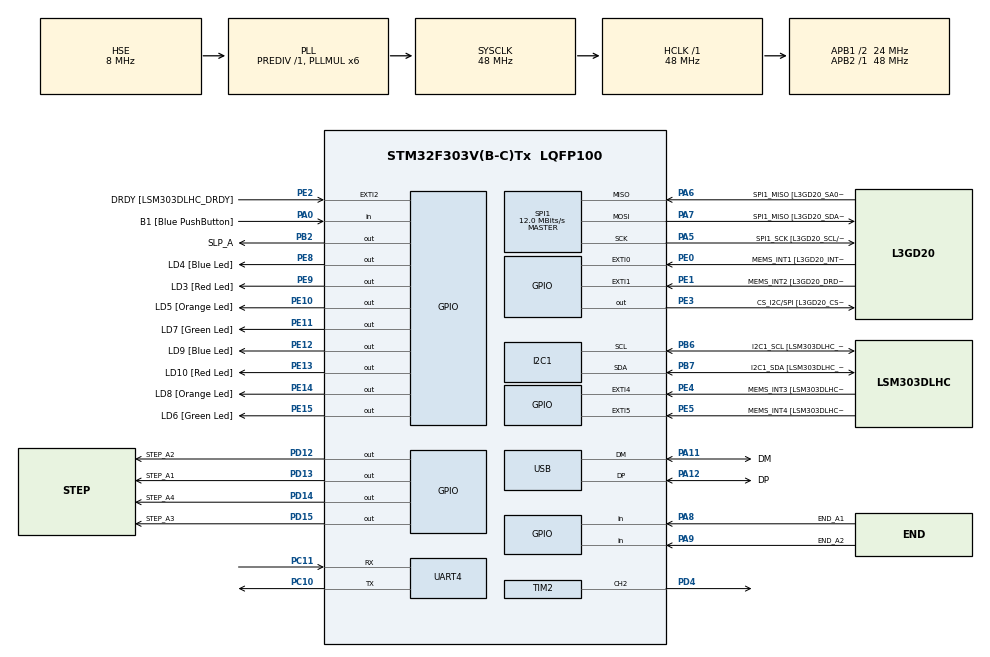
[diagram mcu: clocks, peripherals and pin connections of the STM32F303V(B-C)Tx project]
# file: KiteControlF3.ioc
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I2C1.Timing-I2C=0x2000090E
Mcu.Family=STM32F3
Mcu.Name=STM32F303V(B-C)Tx
Mcu.Package=LQFP100
NVIC.PriorityGroup=NVIC_PRIORITYGROUP_0
NVIC.TIM2_IRQn=true\:0\:0\:false\:false\:true\:true\:true\:true
NVIC.UART4_IRQn=true\:0\:0\:false\:false\:true\:true\:true\:true
PA0.GPIO_Label=B1 [Blue PushButton]
PA0.Signal=GPIO_Input
PA11.GPIO_Label=DM
PA11.Mode=Device
PA11.Signal=USB_DM
PA12.GPIO_Label=DP
PA12.Mode=Device
PA12.Signal=USB_DP
PA13.GPIO_Label=SWDIO
PA13.Mode=Serial_Wire
PA13.Signal=SYS_JTMS-SWDIO
PA14.GPIO_Label=SWCLK
PA14.Mode=Serial_Wire
PA14.Signal=SYS_JTCK-SWCLK
PA5.GPIO_Label=SPI1_SCK [L3GD20_SCL/SPC]
PA5.Mode=Full_Duplex_Master
PA5.Signal=SPI1_SCK
PA6.GPIO_Label=SPI1_MISO [L3GD20_SA0/SDO]
PA6.Mode=Full_Duplex_Master
PA6.Signal=SPI1_MISO
PA7.GPIO_Label=SPI1_MISO [L3GD20_SDA/SDI/SDO]
PA7.Mode=Full_Duplex_Master
PA7.Signal=SPI1_MOSI
PA8.GPIO_Label=END_A1
PA8.Signal=GPIO_Input
PA9.GPIO_Label=END_A2
PA9.Signal=GPIO_Input
PB2.GPIO_Label=SLP_A
PB2.Signal=GPIO_Output
PB3.GPIO_Label=SWO
PB3.Signal=SYS_JTDO-TRACESWO
PB6.GPIO_Label=I2C1_SCL [LSM303DLHC_SCL]
PB6.GPIO_Pu=GPIO_PULLUP
PB6.Mode=I2C
PB6.Signal=I2C1_SCL
PB7.GPIO_Label=I2C1_SDA [LSM303DLHC_SDA]
PB7.GPIO_Pu=GPIO_PULLUP
PB7.Mode=I2C
PB7.Signal=I2C1_SDA
PC10.Mode=Asynchronous
PC10.Signal=UART4_TX
PC11.Mode=Asynchronous
PC11.Signal=UART4_RX
PC14-OSC32_IN.GPIO_Label=OSC32_IN
PC14-OSC32_IN.Signal=RCC_OSC32_IN
PC15-OSC32_OUT.GPIO_Label=OSC32_OUT
PC15-OSC32_OUT.Signal=RCC_OSC32_OUT
PD12.GPIO_Label=STEP_A2
PD12.Signal=GPIO_Output
PD13.GPIO_Label=STEP_A1
PD13.Signal=GPIO_Output
PD14.GPIO_Label=STEP_A4
PD14.Signal=GPIO_Output
PD15.GPIO_Label=STEP_A3
PD15.Signal=GPIO_Output
PD4.Signal=S_TIM2_CH2
PE0.GPIO_Label=MEMS_INT1 [L3GD20_INT1]
PE0.GPIO_ModeDefaultEXTI=GPIO_MODE_EVT_RISING
PE0.Signal=GPXTI0
PE1.GPIO_Label=MEMS_INT2 [L3GD20_DRDY/INT2]
PE1.GPIO_ModeDefaultEXTI=GPIO_MODE_EVT_RISING
PE1.Signal=GPXTI1
PE10.GPIO_Label=LD5 [Orange Led]
PE10.Signal=GPIO_Output
PE11.GPIO_Label=LD7 [Green Led]
PE11.Signal=GPIO_Output
PE12.GPIO_Label=LD9 [Blue Led]
PE12.Signal=GPIO_Output
PE13.GPIO_Label=LD10 [Red Led]
PE13.Signal=GPIO_Output
PE14.GPIO_Label=LD8 [Orange Led]
PE14.Signal=GPIO_Output
PE15.GPIO_Label=LD6 [Green Led]
PE15.Signal=GPIO_Output
PE2.GPIO_Label=DRDY [LSM303DLHC_DRDY]
PE2.GPIO_ModeDefaultEXTI=GPIO_MODE_EVT_RISING
PE2.Signal=GPXTI2
PE3.GPIO_Label=CS_I2C/SPI [L3GD20_CS_I2C/SPI]
PE3.Signal=GPIO_Output
PE4.GPIO_Label=MEMS_INT3 [LSM303DLHC_INT1]
PE4.GPIO_ModeDefaultEXTI=GPIO_MODE_EVT_RISING
PE4.Signal=GPXTI4
PE5.GPIO_Label=MEMS_INT4 [LSM303DLHC_INT2]
PE5.GPIO_ModeDefaultEXTI=GPIO_MODE_EVT_RISING
PE5.Signal=GPXTI5
PE8.GPIO_Label=LD4 [Blue Led]
PE8.Signal=GPIO_Output
PE9.GPIO_Label=LD3 [Red Led]
PE9.Signal=GPIO_Output
PF0-OSC_IN.GPIO_Label=OSC_IN
PF0-OSC_IN.Mode=HSE-External-Clock-Source
PF0-OSC_IN.Signal=RCC_OSC_IN
PF1-OSC_OUT.GPIO_Label=OSC_OUT
PF1-OSC_OUT.Signal=RCC_OSC_OUT
ProjectManager.HeapSize=0x200
ProjectManager.StackSize=0x400
ProjectManager.TargetToolchain=STM32CubeIDE
RCC.AHBFreq_Value=48000000
RCC.APB1CLKDivider=RCC_HCLK_DIV2
RCC.APB1Freq_Value=24000000
RCC.APB1TimFreq_Value=48000000
RCC.APB2Freq_Value=48000000
RCC.APB2TimFreq_Value=48000000
RCC.CortexFreq_Value=48000000
RCC.HCLKFreq_Value=48000000
RCC.HSE_VALUE=8000000
RCC.HSI_VALUE=8000000
RCC.LSE_VALUE=32768
RCC.PLLMUL=RCC_PLL_MUL6
RCC.SYSCLKFreq_VALUE=48000000
RCC.SYSCLKSourceVirtual=RCC_SYSCLKSOURCE_PLLCLK
RCC.USBFreq_Value=48000000
SH.S_TIM2_CH2.0=TIM2_CH2,Output Compare2 CH2
SPI1.BaudRatePrescaler=SPI_BAUDRATEPRESCALER_4
SPI1.BaudRatePrescaler-Full_Duplex_Master=SPI_BAUDRATEPRESCALER_2
SPI1.CalculateBaudRate=12.0 MBits/s
SPI1.CalculateBaudRate-Full_Duplex_Master=24.0 MBits/s
SPI1.Direction=SPI_DIRECTION_2LINES
SPI1.Mode=SPI_MODE_MASTER
SPI1.Mode-Full_Duplex_Master=SPI_MODE_MASTER
SPI1.VirtualType=VM_MASTER
TIM2.Channel-Output\ Compare2\ CH2=TIM_CHANNEL_2
TIM2.OCMode_2=TIM_OCMODE_TOGGLE
TIM2.Period=10
TIM2.Prescaler=48000
VP_TIM2_VS_ClockSourceINT.Mode=Internal
board=STM32F3DISCOVERY

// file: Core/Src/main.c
/* USER CODE BEGIN Header */
/**
  ******************************************************************************
  * @file           : main.c
  * @brief          : Main program body
  ******************************************************************************
  * @attention
  *
  * Copyright (c) 2022 STMicroelectronics.
  * All rights reserved.
  *
  * This software is licensed under terms that can be found in the LICENSE file
  * in the root directory of this software component.
  * If no LICENSE file comes with this software, it is provided AS-IS.
  *
  ******************************************************************************
  */
/* USER CODE END Header */
#include "main.h"

/* USER CODE BEGIN Includes */
#include "input_buf.h"
#include "console.h"
#include <stdbool.h>
#include "../../Drivers/BSP/STM32F3-Discovery/stm32f3_discovery.h"
#include "actuator.h"
#include "pin.h"
/* USER CODE END Includes */

 I2C_HandleTypeDef hi2c1;

SPI_HandleTypeDef hspi1;

TIM_HandleTypeDef htim2;

UART_HandleTypeDef huart4;

PCD_HandleTypeDef hpcd_USB_FS;

/* USER CODE BEGIN PV */
uint8_t uart_byte_buf[1];
input_buf uart_buf;
bool blink_leds = false;

volatile uint8_t step_a = 0;

Actuator yaw;

/* USER CODE END PV */

void SystemClock_Config(void);
static void MX_GPIO_Init(void);
static void MX_I2C1_Init(void);
static void MX_SPI1_Init(void);
static void MX_USB_PCD_Init(void);
static void MX_UART4_Init(void);
static void MX_TIM2_Init(void);
/* USER CODE BEGIN PFP */
void setupActuators(void);
void pinGo(Pin *p);
/* USER CODE END PFP */

/* USER CODE BEGIN 0 */
void HAL_UART_RxCpltCallback(UART_HandleTypeDef *huart) {
	input_buf_add(&uart_buf, uart_byte_buf[0]);
	HAL_UART_Receive_IT(&huart4, uart_byte_buf, 1);
}

void HAL_TIM_PeriodElapsedCallback(TIM_HandleTypeDef *htim) {

	// check which timer triggered this callback

	/*
	if(htim == yaw.htim) { // TODO: does this work?

		if(0 == yaw.step_count) {
			yaw.pin1->state = true;
			yaw.pin2->state = true;
			yaw.pin3->state = false;
			yaw.pin4->state = false;
		} else if(1 == yaw.step_count) {
			yaw.pin1->state = false;
			yaw.pin2->state = true;
			yaw.pin3->state = true;
			yaw.pin4->state = false;
		} else if(2 == yaw.step_count) {
			yaw.pin1->state = false;
			yaw.pin2->state = false;
			yaw.pin3->state = true;
			yaw.pin4->state = true;
		} else if(3 == yaw.step_count) {
			yaw.pin1->state = true;
			yaw.pin2->state = false;
			yaw.pin3->state = false;
			yaw.pin4->state = true;
		}

		pinGo(yaw.pin1); // TODO: does this work?
		pinGo(yaw.pin2);
		pinGo(yaw.pin3);
		pinGo(yaw.pin4);

		yaw.step_count++;
		if(yaw.step_count > 4) yaw.step_count = 0;
	}
	*/

	if(htim == &htim2) { // stepper A

		if(step_a == 0) {
			HAL_GPIO_WritePin(STEP_A1_GPIO_Port, STEP_A1_Pin, GPIO_PIN_SET);
			HAL_GPIO_WritePin(STEP_A2_GPIO_Port, STEP_A2_Pin, GPIO_PIN_SET);
			HAL_GPIO_WritePin(STEP_A3_GPIO_Port, STEP_A3_Pin, GPIO_PIN_RESET);
			HAL_GPIO_WritePin(STEP_A4_GPIO_Port, STEP_A4_Pin, GPIO_PIN_RESET);
		} else if(step_a == 1) {
			HAL_GPIO_WritePin(STEP_A1_GPIO_Port, STEP_A1_Pin, GPIO_PIN_RESET);
			HAL_GPIO_WritePin(STEP_A2_GPIO_Port, STEP_A2_Pin, GPIO_PIN_SET);
			HAL_GPIO_WritePin(STEP_A3_GPIO_Port, STEP_A3_Pin, GPIO_PIN_SET);
			HAL_GPIO_WritePin(STEP_A4_GPIO_Port, STEP_A4_Pin, GPIO_PIN_RESET);
		} else if(step_a == 2) {
			HAL_GPIO_WritePin(STEP_A1_GPIO_Port, STEP_A1_Pin, GPIO_PIN_RESET);
			HAL_GPIO_WritePin(STEP_A2_GPIO_Port, STEP_A2_Pin, GPIO_PIN_RESET);
			HAL_GPIO_WritePin(STEP_A3_GPIO_Port, STEP_A3_Pin, GPIO_PIN_SET);
			HAL_GPIO_WritePin(STEP_A4_GPIO_Port, STEP_A4_Pin, GPIO_PIN_SET);
		} else if(step_a == 3) {
			HAL_GPIO_WritePin(STEP_A1_GPIO_Port, STEP_A1_Pin, GPIO_PIN_SET);
			HAL_GPIO_WritePin(STEP_A2_GPIO_Port, STEP_A2_Pin, GPIO_PIN_RESET);
			HAL_GPIO_WritePin(STEP_A3_GPIO_Port, STEP_A3_Pin, GPIO_PIN_RESET);
			HAL_GPIO_WritePin(STEP_A4_GPIO_Port, STEP_A4_Pin, GPIO_PIN_SET);
		}

		step_a++;
		if(step_a >= 4) step_a = 0;
	}

}

void setupActuators(void) {

	// -- A --

	Pin p1 = { STEP_A1_GPIO_Port, STEP_A1_Pin, 0 };
	Pin p2 = { STEP_A2_GPIO_Port, STEP_A2_Pin, 0 };
	Pin p3 = { STEP_A3_GPIO_Port, STEP_A3_Pin, 0 };
	Pin p4 = { STEP_A4_GPIO_Port, STEP_A4_Pin, 0 };
	Pin p_slp = { SLP_A_GPIO_Port, SLP_A_Pin, 0 };
	Pin e1 = { END_A1_GPIO_Port, END_A1_Pin, 0 };
	Pin e2 = { END_A2_GPIO_Port, END_A2_Pin, 0 };

	yaw.pin1 = &p1; // TODO: is this how it goes?
	yaw.pin2 = &p2;
	yaw.pin3 = &p3;
	yaw.pin4 = &p4;
	yaw.slp = &p_slp;
	yaw.end1 = &e1;
	yaw.end2 = &e2;

	yaw.htim = &htim2; // TODO: is this how it goes?

	yaw.step_count = 0;

	// enable the stepper motor driver A by driving pin high
	HAL_GPIO_WritePin(p_slp.port, p_slp.pin, GPIO_PIN_SET);

	// ------

}

void pinGo(Pin *p) {
	if(p->state == true) {
		HAL_GPIO_WritePin(p->port, p->pin, GPIO_PIN_SET);
	} else {
		HAL_GPIO_WritePin(p->port, p->pin, GPIO_PIN_RESET);
	}
}

/* USER CODE END 0 */

int main(void)
{

  /* MCU Configuration--------------------------------------------------------*/

  /* Reset of all peripherals, Initializes the Flash interface and the Systick. */
  HAL_Init();

  /* Configure the system clock */
  SystemClock_Config();

  /* Initialize all configured peripherals */
  MX_GPIO_Init();
  MX_I2C1_Init();
  MX_SPI1_Init();
  MX_USB_PCD_Init();
  MX_UART4_Init();
  MX_TIM2_Init();

  /* Infinite loop */
  /* USER CODE BEGIN WHILE */
  HAL_TIM_Base_Start_IT(&htim2);
  ConsoleInit();
  input_buf_reset(&uart_buf);
  HAL_UART_Receive_IT(&huart4, uart_byte_buf, 1);

  //setupActuators();

  // enable the stepper motor driver A by driving pin high
  HAL_GPIO_WritePin(SLP_A_GPIO_Port, SLP_A_Pin, GPIO_PIN_SET);

  while (1)
  {

  	/*
  	if(step_a == 0) {
			HAL_GPIO_WritePin(STEP_A1_GPIO_Port, STEP_A1_Pin, GPIO_PIN_SET);
			HAL_GPIO_WritePin(STEP_A2_GPIO_Port, STEP_A2_Pin, GPIO_PIN_SET);
			HAL_GPIO_WritePin(STEP_A3_GPIO_Port, STEP_A3_Pin, GPIO_PIN_RESET);
			HAL_GPIO_WritePin(STEP_A4_GPIO_Port, STEP_A4_Pin, GPIO_PIN_RESET);
		} else if(step_a == 1) {
			HAL_GPIO_WritePin(STEP_A1_GPIO_Port, STEP_A1_Pin, GPIO_PIN_RESET);
			HAL_GPIO_WritePin(STEP_A2_GPIO_Port, STEP_A2_Pin, GPIO_PIN_SET);
			HAL_GPIO_WritePin(STEP_A3_GPIO_Port, STEP_A3_Pin, GPIO_PIN_SET);
			HAL_GPIO_WritePin(STEP_A4_GPIO_Port, STEP_A4_Pin, GPIO_PIN_RESET);
		} else if(step_a == 2) {
			HAL_GPIO_WritePin(STEP_A1_GPIO_Port, STEP_A1_Pin, GPIO_PIN_RESET);
			HAL_GPIO_WritePin(STEP_A2_GPIO_Port, STEP_A2_Pin, GPIO_PIN_RESET);
			HAL_GPIO_WritePin(STEP_A3_GPIO_Port, STEP_A3_Pin, GPIO_PIN_SET);
			HAL_GPIO_WritePin(STEP_A4_GPIO_Port, STEP_A4_Pin, GPIO_PIN_SET);
		} else if(step_a == 3) {
			HAL_GPIO_WritePin(STEP_A1_GPIO_Port, STEP_A1_Pin, GPIO_PIN_SET);
			HAL_GPIO_WritePin(STEP_A2_GPIO_Port, STEP_A2_Pin, GPIO_PIN_RESET);
			HAL_GPIO_WritePin(STEP_A3_GPIO_Port, STEP_A3_Pin, GPIO_PIN_RESET);
			HAL_GPIO_WritePin(STEP_A4_GPIO_Port, STEP_A4_Pin, GPIO_PIN_SET);
		}

		step_a++;
		if(step_a >= 4) step_a = 0;
  	HAL_Delay(10);
		*/

  	// new
  	if(input_buf_ready(&uart_buf)) {
  		ConsoleProcess();
			input_buf_reset(&uart_buf);
		}

  	/*
  	if(input_buf_ready(&uart_buf)) {
  		uint8_t my_str[] = "received: ";
  		HAL_UART_Transmit(&huart4, my_str, sizeof(my_str), HAL_MAX_DELAY);
  		HAL_UART_Transmit(&huart4, uart_buf.buf, uart_buf.curr_index, HAL_MAX_DELAY);
  		uint8_t my_str2[] = "\r\n";
  		HAL_UART_Transmit(&huart4, my_str2, sizeof(my_str2), HAL_MAX_DELAY);
  		//printf("received: %s", uart_buf.buf);
  		input_buf_reset(&uart_buf);
  	}
  	*/

  	if(blink_leds) {
			HAL_GPIO_WritePin(GPIOE, CS_I2C_SPI_Pin|LD4_Pin|LD3_Pin|LD5_Pin
																|LD7_Pin|LD9_Pin|LD10_Pin|LD8_Pin
																|LD6_Pin, GPIO_PIN_RESET);
			HAL_Delay(100);
			HAL_GPIO_WritePin(GPIOE, CS_I2C_SPI_Pin|LD4_Pin|LD3_Pin|LD5_Pin
																		|LD7_Pin|LD9_Pin|LD10_Pin|LD8_Pin
																		|LD6_Pin, GPIO_PIN_SET);
			HAL_Delay(100);
  	} else {
  		HAL_GPIO_WritePin(GPIOE, CS_I2C_SPI_Pin|LD4_Pin|LD3_Pin|LD5_Pin
  																		|LD7_Pin|LD9_Pin|LD10_Pin|LD8_Pin
  																		|LD6_Pin, GPIO_PIN_RESET);
  	}

    /* USER CODE END WHILE */

  }
}

void SystemClock_Config(void)
{
  RCC_OscInitTypeDef RCC_OscInitStruct = {0};
  RCC_ClkInitTypeDef RCC_ClkInitStruct = {0};
  RCC_PeriphCLKInitTypeDef PeriphClkInit = {0};

  /** Initializes the RCC Oscillators according to the specified parameters
  * in the RCC_OscInitTypeDef structure.
  */
  RCC_OscInitStruct.OscillatorType = RCC_OSCILLATORTYPE_HSI|RCC_OSCILLATORTYPE_HSE;
  RCC_OscInitStruct.HSEState = RCC_HSE_BYPASS;
  RCC_OscInitStruct.HSEPredivValue = RCC_HSE_PREDIV_DIV1;
  RCC_OscInitStruct.HSIState = RCC_HSI_ON;
  RCC_OscInitStruct.HSICalibrationValue = RCC_HSICALIBRATION_DEFAULT;
  RCC_OscInitStruct.PLL.PLLState = RCC_PLL_ON;
  RCC_OscInitStruct.PLL.PLLSource = RCC_PLLSOURCE_HSE;
  RCC_OscInitStruct.PLL.PLLMUL = RCC_PLL_MUL6;
  if (HAL_RCC_OscConfig(&RCC_OscInitStruct) != HAL_OK)
  {
    Error_Handler();
  }

  /** Initializes the CPU, AHB and APB buses clocks
  */
  RCC_ClkInitStruct.ClockType = RCC_CLOCKTYPE_HCLK|RCC_CLOCKTYPE_SYSCLK
                              |RCC_CLOCKTYPE_PCLK1|RCC_CLOCKTYPE_PCLK2;
  RCC_ClkInitStruct.SYSCLKSource = RCC_SYSCLKSOURCE_PLLCLK;
  RCC_ClkInitStruct.AHBCLKDivider = RCC_SYSCLK_DIV1;
  RCC_ClkInitStruct.APB1CLKDivider = RCC_HCLK_DIV2;
  RCC_ClkInitStruct.APB2CLKDivider = RCC_HCLK_DIV1;

  if (HAL_RCC_ClockConfig(&RCC_ClkInitStruct, FLASH_LATENCY_1) != HAL_OK)
  {
    Error_Handler();
  }
  PeriphClkInit.PeriphClockSelection = RCC_PERIPHCLK_USB|RCC_PERIPHCLK_UART4
                              |RCC_PERIPHCLK_I2C1;
  PeriphClkInit.Uart4ClockSelection = RCC_UART4CLKSOURCE_PCLK1;
  PeriphClkInit.I2c1ClockSelection = RCC_I2C1CLKSOURCE_HSI;
  PeriphClkInit.USBClockSelection = RCC_USBCLKSOURCE_PLL;
  if (HAL_RCCEx_PeriphCLKConfig(&PeriphClkInit) != HAL_OK)
  {
    Error_Handler();
  }
}

static void MX_I2C1_Init(void)
{

  hi2c1.Instance = I2C1;
  hi2c1.Init.Timing = 0x2000090E;
  hi2c1.Init.OwnAddress1 = 0;
  hi2c1.Init.AddressingMode = I2C_ADDRESSINGMODE_7BIT;
  hi2c1.Init.DualAddressMode = I2C_DUALADDRESS_DISABLE;
  hi2c1.Init.OwnAddress2 = 0;
  hi2c1.Init.OwnAddress2Masks = I2C_OA2_NOMASK;
  hi2c1.Init.GeneralCallMode = I2C_GENERALCALL_DISABLE;
  hi2c1.Init.NoStretchMode = I2C_NOSTRETCH_DISABLE;
  if (HAL_I2C_Init(&hi2c1) != HAL_OK)
  {
    Error_Handler();
  }

  /** Configure Analogue filter
  */
  if (HAL_I2CEx_ConfigAnalogFilter(&hi2c1, I2C_ANALOGFILTER_ENABLE) != HAL_OK)
  {
    Error_Handler();
  }

  /** Configure Digital filter
  */
  if (HAL_I2CEx_ConfigDigitalFilter(&hi2c1, 0) != HAL_OK)
  {
    Error_Handler();
  }

}

static void MX_SPI1_Init(void)
{

  /* SPI1 parameter configuration*/
  hspi1.Instance = SPI1;
  hspi1.Init.Mode = SPI_MODE_MASTER;
  hspi1.Init.Direction = SPI_DIRECTION_2LINES;
  hspi1.Init.DataSize = SPI_DATASIZE_4BIT;
  hspi1.Init.CLKPolarity = SPI_POLARITY_LOW;
  hspi1.Init.CLKPhase = SPI_PHASE_1EDGE;
  hspi1.Init.NSS = SPI_NSS_SOFT;
  hspi1.Init.BaudRatePrescaler = SPI_BAUDRATEPRESCALER_4;
  hspi1.Init.FirstBit = SPI_FIRSTBIT_MSB;
  hspi1.Init.TIMode = SPI_TIMODE_DISABLE;
  hspi1.Init.CRCCalculation = SPI_CRCCALCULATION_DISABLE;
  hspi1.Init.CRCPolynomial = 7;
  hspi1.Init.CRCLength = SPI_CRC_LENGTH_DATASIZE;
  hspi1.Init.NSSPMode = SPI_NSS_PULSE_ENABLE;
  if (HAL_SPI_Init(&hspi1) != HAL_OK)
  {
    Error_Handler();
  }

}

static void MX_TIM2_Init(void)
{

  TIM_ClockConfigTypeDef sClockSourceConfig = {0};
  TIM_MasterConfigTypeDef sMasterConfig = {0};
  TIM_OC_InitTypeDef sConfigOC = {0};

  htim2.Instance = TIM2;
  htim2.Init.Prescaler = 48000;
  htim2.Init.CounterMode = TIM_COUNTERMODE_UP;
  htim2.Init.Period = 10;
  htim2.Init.ClockDivision = TIM_CLOCKDIVISION_DIV1;
  htim2.Init.AutoReloadPreload = TIM_AUTORELOAD_PRELOAD_DISABLE;
  if (HAL_TIM_Base_Init(&htim2) != HAL_OK)
  {
    Error_Handler();
  }
  sClockSourceConfig.ClockSource = TIM_CLOCKSOURCE_INTERNAL;
  if (HAL_TIM_ConfigClockSource(&htim2, &sClockSourceConfig) != HAL_OK)
  {
    Error_Handler();
  }
  if (HAL_TIM_OC_Init(&htim2) != HAL_OK)
  {
    Error_Handler();
  }
  sMasterConfig.MasterOutputTrigger = TIM_TRGO_RESET;
  sMasterConfig.MasterSlaveMode = TIM_MASTERSLAVEMODE_DISABLE;
  if (HAL_TIMEx_MasterConfigSynchronization(&htim2, &sMasterConfig) != HAL_OK)
  {
    Error_Handler();
  }
  sConfigOC.OCMode = TIM_OCMODE_TOGGLE;
  sConfigOC.Pulse = 0;
  sConfigOC.OCPolarity = TIM_OCPOLARITY_HIGH;
  sConfigOC.OCFastMode = TIM_OCFAST_DISABLE;
  if (HAL_TIM_OC_ConfigChannel(&htim2, &sConfigOC, TIM_CHANNEL_2) != HAL_OK)
  {
    Error_Handler();
  }
  HAL_TIM_MspPostInit(&htim2);

}

static void MX_UART4_Init(void)
{

  huart4.Instance = UART4;
  huart4.Init.BaudRate = 115200;
  huart4.Init.WordLength = UART_WORDLENGTH_8B;
  huart4.Init.StopBits = UART_STOPBITS_1;
  huart4.Init.Parity = UART_PARITY_NONE;
  huart4.Init.Mode = UART_MODE_TX_RX;
  huart4.Init.HwFlowCtl = UART_HWCONTROL_NONE;
  huart4.Init.OverSampling = UART_OVERSAMPLING_16;
  huart4.Init.OneBitSampling = UART_ONE_BIT_SAMPLE_DISABLE;
  huart4.AdvancedInit.AdvFeatureInit = UART_ADVFEATURE_NO_INIT;
  if (HAL_UART_Init(&huart4) != HAL_OK)
  {
    Error_Handler();
  }

}

static void MX_USB_PCD_Init(void)
{

  hpcd_USB_FS.Instance = USB;
  hpcd_USB_FS.Init.dev_endpoints = 8;
  hpcd_USB_FS.Init.speed = PCD_SPEED_FULL;
  hpcd_USB_FS.Init.phy_itface = PCD_PHY_EMBEDDED;
  hpcd_USB_FS.Init.low_power_enable = DISABLE;
  hpcd_USB_FS.Init.battery_charging_enable = DISABLE;
  if (HAL_PCD_Init(&hpcd_USB_FS) != HAL_OK)
  {
    Error_Handler();
  }

}

static void MX_GPIO_Init(void)
{
  GPIO_InitTypeDef GPIO_InitStruct = {0};

  /* GPIO Ports Clock Enable */
  __HAL_RCC_GPIOE_CLK_ENABLE();
  __HAL_RCC_GPIOC_CLK_ENABLE();
  __HAL_RCC_GPIOF_CLK_ENABLE();
  __HAL_RCC_GPIOA_CLK_ENABLE();
  __HAL_RCC_GPIOB_CLK_ENABLE();
  __HAL_RCC_GPIOD_CLK_ENABLE();

  /*Configure GPIO pin Output Level */
  HAL_GPIO_WritePin(GPIOE, CS_I2C_SPI_Pin|LD4_Pin|LD3_Pin|LD5_Pin
                          |LD7_Pin|LD9_Pin|LD10_Pin|LD8_Pin
                          |LD6_Pin, GPIO_PIN_RESET);

  /*Configure GPIO pin Output Level */
  HAL_GPIO_WritePin(SLP_A_GPIO_Port, SLP_A_Pin, GPIO_PIN_RESET);

  /*Configure GPIO pin Output Level */
  HAL_GPIO_WritePin(GPIOD, STEP_A2_Pin|STEP_A1_Pin|STEP_A4_Pin|STEP_A3_Pin, GPIO_PIN_RESET);

  /*Configure GPIO pins : DRDY_Pin MEMS_INT3_Pin MEMS_INT4_Pin MEMS_INT1_Pin
                           MEMS_INT2_Pin */
  GPIO_InitStruct.Pin = DRDY_Pin|MEMS_INT3_Pin|MEMS_INT4_Pin|MEMS_INT1_Pin
                          |MEMS_INT2_Pin;
  GPIO_InitStruct.Mode = GPIO_MODE_EVT_RISING;
  GPIO_InitStruct.Pull = GPIO_NOPULL;
  HAL_GPIO_Init(GPIOE, &GPIO_InitStruct);

  /*Configure GPIO pins : CS_I2C_SPI_Pin LD4_Pin LD3_Pin LD5_Pin
                           LD7_Pin LD9_Pin LD10_Pin LD8_Pin
                           LD6_Pin */
  GPIO_InitStruct.Pin = CS_I2C_SPI_Pin|LD4_Pin|LD3_Pin|LD5_Pin
                          |LD7_Pin|LD9_Pin|LD10_Pin|LD8_Pin
                          |LD6_Pin;
  GPIO_InitStruct.Mode = GPIO_MODE_OUTPUT_PP;
  GPIO_InitStruct.Pull = GPIO_NOPULL;
  GPIO_InitStruct.Speed = GPIO_SPEED_FREQ_LOW;
  HAL_GPIO_Init(GPIOE, &GPIO_InitStruct);

  /*Configure GPIO pins : B1_Pin END_A1_Pin END_A2_Pin */
  GPIO_InitStruct.Pin = B1_Pin|END_A1_Pin|END_A2_Pin;
  GPIO_InitStruct.Mode = GPIO_MODE_INPUT;
  GPIO_InitStruct.Pull = GPIO_NOPULL;
  HAL_GPIO_Init(GPIOA, &GPIO_InitStruct);

  /*Configure GPIO pin : SLP_A_Pin */
  GPIO_InitStruct.Pin = SLP_A_Pin;
  GPIO_InitStruct.Mode = GPIO_MODE_OUTPUT_PP;
  GPIO_InitStruct.Pull = GPIO_NOPULL;
  GPIO_InitStruct.Speed = GPIO_SPEED_FREQ_LOW;
  HAL_GPIO_Init(SLP_A_GPIO_Port, &GPIO_InitStruct);

  /*Configure GPIO pins : STEP_A2_Pin STEP_A1_Pin STEP_A4_Pin STEP_A3_Pin */
  GPIO_InitStruct.Pin = STEP_A2_Pin|STEP_A1_Pin|STEP_A4_Pin|STEP_A3_Pin;
  GPIO_InitStruct.Mode = GPIO_MODE_OUTPUT_PP;
  GPIO_InitStruct.Pull = GPIO_NOPULL;
  GPIO_InitStruct.Speed = GPIO_SPEED_FREQ_LOW;
  HAL_GPIO_Init(GPIOD, &GPIO_InitStruct);

}

void Error_Handler(void)
{
  __disable_irq();
  while (1)
  {
  }
}
